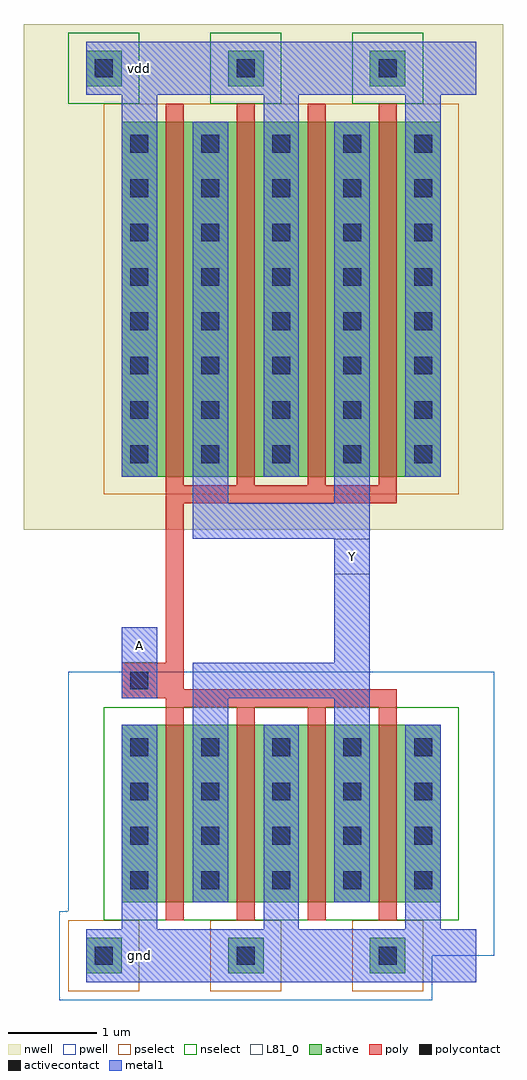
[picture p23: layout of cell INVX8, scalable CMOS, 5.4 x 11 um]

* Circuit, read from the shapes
.subckt INVX8 A Y gnd vdd
M1 Y A gnd gnd nfet w=2u l=0.2u m=4
M2 Y A vdd vdd pfet w=4u l=0.2u m=4
.ends

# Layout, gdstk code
import gdstk
lib = gdstk.Library(unit=1e-6, precision=1e-09)
def R(c, l, rs):  # rectangles x0, y0, x1, y1
    for r in rs: c.add(gdstk.rectangle(r[:2], r[2:], *l))
def A(c, l, x, y, w, h, nx, ny, dx, dy):  # array of equal rectangles
    R(c, l, [(x+i*dx, y+j*dy, x+i*dx+w, y+j*dy+h) for i in range(nx) for j in range(ny)])
pwell = (41, 0)
nwell = (42, 0)
active = (43, 0)
pselect = (44, 0)
nselect = (45, 0)
poly = (46, 0)
polycontact = (47, 0)
activecontact = (48, 0)
metal1 = (49, 0)
L81_0 = (81, 0)

invx8 = lib.new_cell('INVX8')
R(invx8, pwell, [(-0.5,-0.5,3.7,0), (-0.5,0,4.4,0.5), (-0.4,0.5,4.4,3.2)])
R(invx8, nwell, [(-0.9,4.8,4.5,10.5)])
A(invx8, active, -0.2, -0.2, 0.4, 0.4, 3, 2, 1.6, 10)
R(invx8, active, [(0.2,0.6,3.8,2.6), (0.2,5.4,3.8,9.4)])
A(invx8, pselect, -0.4, -0.4, 0.8, 0.8, 3, 1, 1.6, 0)
R(invx8, pselect, [(0,5.2,4,9.6)])
A(invx8, nselect, -0.4, 9.6, 0.8, 0.8, 3, 1, 1.6, 0)
R(invx8, nselect, [(0,0.4,4,2.8)])
A(invx8, poly, 0.7, 0.4, 0.2, 2.4, 4, 1, 0.8, 0)
A(invx8, poly, 0.7, 5.3, 0.2, 4.3, 4, 1, 0.8, 0)
R(invx8, poly, [(0.7,2.8,3.3,2.9), (0.2,2.9,3.3,3), (0.2,3,0.9,3.3), (0.7,3.3,0.9,5.1), (0.7,5.1,3.3,5.3)])
R(invx8, polycontact, [(0.3,3,0.5,3.2)])
A(invx8, activecontact, -0.1, -0.1, 0.2, 0.2, 3, 2, 1.6, 10)
A(invx8, activecontact, 0.3, 0.75, 0.2, 0.2, 5, 4, 0.8, 0.5)
A(invx8, activecontact, 0.3, 5.55, 0.2, 0.2, 5, 8, 0.8, 0.5)
A(invx8, metal1, 0.2, 0.3, 0.4, 2.3, 3, 1, 1.6, 0)
A(invx8, metal1, 0.2, 5.4, 0.4, 4.3, 3, 1, 1.6, 0)
R(invx8, metal1, [(-0.2,-0.3,4.2,0.3), (1,0.6,1.4,2.9), (2.6,0.6,3,2.9), (0.2,2.9,0.6,3.7), (1,2.9,3,3.3), (2.6,3.3,3,4.7), (1,4.7,3,5.1), (1,5.1,1.4,9.4), (2.6,5.1,3,9.4), (-0.2,9.7,4.2,10.3)])
R(invx8, L81_0, [(0.2,3.3,0.6,3.7), (2.6,4.3,3,4.7)])
invx8.add(gdstk.Label('vdd', (0.4,10), layer=49, texttype=0))
invx8.add(gdstk.Label('gnd', (0.4,0), layer=49, texttype=0))
invx8.add(gdstk.Label('A', (0.4,3.5), layer=49, texttype=0))
invx8.add(gdstk.Label('Y', (2.8,4.5), layer=49, texttype=0))

lib.write_gds('INVX8.gds')
